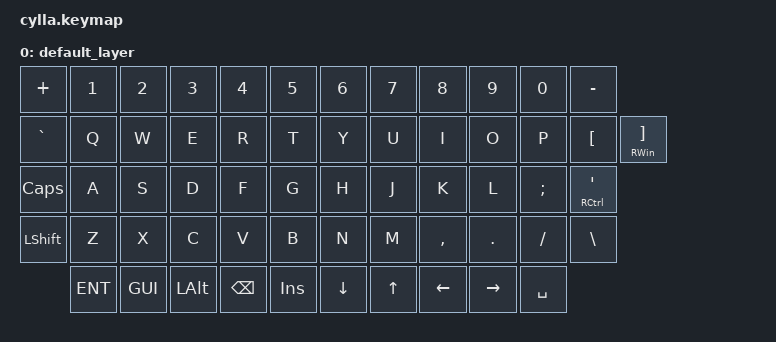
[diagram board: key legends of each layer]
/*
 * Copyright (c) 2020 The ZMK Contributors
 *
 * SPDX-License-Identifier: MIT
 */

#include <behaviors.dtsi>
#include <dt-bindings/zmk/keys.h>
#include <dt-bindings/zmk/bt.h>

#define DEF 0

/ {
        keymap {
                compatible = "zmk,keymap";

                default_layer {
// -----------------------------------------------------------------------------------------
// |   +  |  1  |  2  |  3  |  4  |  5  |   |  6  |  7   |  8  |  9  |  0  |  -   |
// | TAB  |  Q  |  W  |  E  |  R  |  T  |   |  Y  |  U   |  I  |  O  |  P  |  \   |
// | CLCK |  A  |  S  |  D  |  F  |  G  |   |  H  |  J   |  K  |  L  |  ;  |  '   |
// | SHFT |  Z  |  X  |  C  |  V  |  B  |   |  N  |  M   |  ,  |  .  |  /  |  `   |
//        | ENT | GUI | ALT | BKSP| INS |   |DOWN |  UP  | LEFT|RIGHT| SPC |
                        bindings = <
            &kp PLUS  &kp N1  &kp N2  &kp N3   &kp N4   &kp N5         &kp N6   &kp N7 &kp N8    &kp N9    &kp N0   &kp MINUS
            &kp GRAVE &kp Q   &kp W   &kp E    &kp R    &kp T          &kp Y    &kp U  &kp I     &kp O     &kp P    &kp LBKT &mt RWIN RBKT
            &kp CAPS  &kp A   &kp S   &kp D    &kp F    &kp G          &kp H    &kp J  &kp K     &kp L     &kp SEMI &mt RCTRL SQT
            &kp LSHFT &kp Z   &kp X   &kp C    &kp V    &kp B          &kp N    &kp M  &kp COMMA &kp DOT   &kp FSLH &kp BSLH
                      &kp ENT &kp GUI &kp LALT &kp BKSP &kp INS        &kp DOWN &kp UP &kp LEFT  &kp RIGHT &kp SPC
                        >;
                };
        };
};
